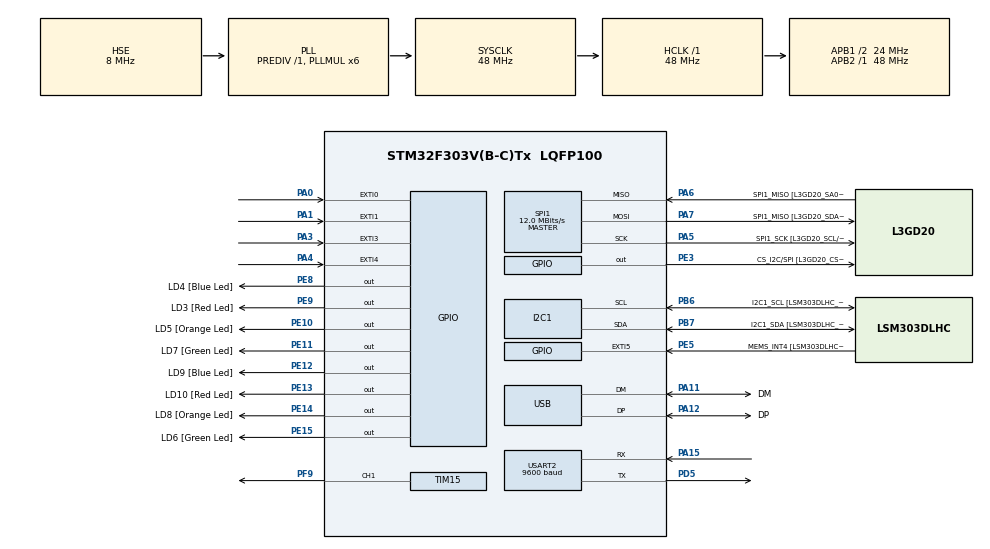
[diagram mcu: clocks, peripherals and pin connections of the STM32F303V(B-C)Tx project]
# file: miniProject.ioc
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I2C1.Timing=0x2000090E
I2C1.Timing-I2C=0x2000090E
Mcu.Family=STM32F3
Mcu.Name=STM32F303V(B-C)Tx
Mcu.Package=LQFP100
NVIC.EXTI0_IRQn=true\:0\:0\:true\:false\:true\:true\:true
NVIC.EXTI1_IRQn=true\:0\:0\:true\:false\:true\:true\:true
NVIC.EXTI3_IRQn=true\:4\:0\:true\:false\:true\:true\:true
NVIC.EXTI4_IRQn=true\:0\:0\:false\:false\:true\:true\:true
NVIC.PriorityGroup=NVIC_PRIORITYGROUP_3
NVIC.TIM1_BRK_TIM15_IRQn=true\:3\:0\:true\:false\:true\:true\:true
NVIC.TIM3_IRQn=true\:5\:0\:true\:false\:true\:true\:true
NVIC.TIM4_IRQn=true\:0\:0\:true\:false\:true\:true\:true
NVIC.USART2_IRQn=true\:1\:0\:true\:false\:true\:true\:true
PA0.GPIO_PuPd=GPIO_PULLDOWN
PA0.Signal=GPXTI0
PA1.GPIO_PuPd=GPIO_PULLDOWN
PA1.Signal=GPXTI1
PA11.GPIO_Label=DM
PA11.Mode=Device
PA11.Signal=USB_DM
PA12.GPIO_Label=DP
PA12.Mode=Device
PA12.Signal=USB_DP
PA13.GPIO_Label=SWDIO
PA13.Mode=Serial_Wire
PA13.Signal=SYS_JTMS-SWDIO
PA14.GPIO_Label=SWCLK
PA14.Mode=Serial_Wire
PA14.Signal=SYS_JTCK-SWCLK
PA15.Mode=Asynchronous
PA15.Signal=USART2_RX
PA3.GPIO_PuPd=GPIO_PULLDOWN
PA3.Signal=GPXTI3
PA4.GPIO_PuPd=GPIO_PULLDOWN
PA4.Signal=GPXTI4
PA5.GPIO_Label=SPI1_SCK [L3GD20_SCL/SPC]
PA5.Mode=Full_Duplex_Master
PA5.Signal=SPI1_SCK
PA6.GPIO_Label=SPI1_MISO [L3GD20_SA0/SDO]
PA6.Mode=Full_Duplex_Master
PA6.Signal=SPI1_MISO
PA7.GPIO_Label=SPI1_MISO [L3GD20_SDA/SDI/SDO]
PA7.Mode=Full_Duplex_Master
PA7.Signal=SPI1_MOSI
PB3.GPIO_Label=SWO
PB3.Signal=SYS_JTDO-TRACESWO
PB6.GPIO_Label=I2C1_SCL [LSM303DLHC_SCL]
PB6.GPIO_Pu=GPIO_PULLUP
PB6.Mode=I2C
PB6.Signal=I2C1_SCL
PB7.GPIO_Label=I2C1_SDA [LSM303DLHC_SDA]
PB7.GPIO_Pu=GPIO_PULLUP
PB7.Mode=I2C
PB7.Signal=I2C1_SDA
PC14-OSC32_IN.GPIO_Label=OSC32_IN
PC14-OSC32_IN.Signal=RCC_OSC32_IN
PC15-OSC32_OUT.GPIO_Label=OSC32_OUT
PC15-OSC32_OUT.Signal=RCC_OSC32_OUT
PD5.Mode=Asynchronous
PD5.Signal=USART2_TX
PE10.GPIO_Label=LD5 [Orange Led]
PE10.Signal=GPIO_Output
PE11.GPIO_Label=LD7 [Green Led]
PE11.Signal=GPIO_Output
PE12.GPIO_Label=LD9 [Blue Led]
PE12.Signal=GPIO_Output
PE13.GPIO_Label=LD10 [Red Led]
PE13.Signal=GPIO_Output
PE14.GPIO_Label=LD8 [Orange Led]
PE14.Signal=GPIO_Output
PE15.GPIO_Label=LD6 [Green Led]
PE15.Signal=GPIO_Output
PE3.GPIO_Label=CS_I2C/SPI [L3GD20_CS_I2C/SPI]
PE3.Signal=GPIO_Output
PE5.GPIO_Label=MEMS_INT4 [LSM303DLHC_INT2]
PE5.GPIO_ModeDefaultEXTI=GPIO_MODE_EVT_RISING
PE5.Signal=GPXTI5
PE8.GPIO_Label=LD4 [Blue Led]
PE8.Signal=GPIO_Output
PE9.GPIO_Label=LD3 [Red Led]
PE9.Signal=GPIO_Output
PF0-OSC_IN.GPIO_Label=OSC_IN
PF0-OSC_IN.Mode=HSE-External-Clock-Source
PF0-OSC_IN.Signal=RCC_OSC_IN
PF1-OSC_OUT.GPIO_Label=OSC_OUT
PF1-OSC_OUT.Signal=RCC_OSC_OUT
PF9.Signal=S_TIM15_CH1
ProjectManager.HeapSize=0x200
ProjectManager.StackSize=0x400
ProjectManager.TargetToolchain=STM32CubeIDE
RCC.AHBFreq_Value=48000000
RCC.APB1CLKDivider=RCC_HCLK_DIV2
RCC.APB1Freq_Value=24000000
RCC.APB1TimFreq_Value=48000000
RCC.APB2Freq_Value=48000000
RCC.APB2TimFreq_Value=48000000
RCC.CortexFreq_Value=48000000
RCC.HCLKFreq_Value=48000000
RCC.HSE_VALUE=8000000
RCC.HSI_VALUE=8000000
RCC.LSE_VALUE=32768
RCC.PLLMUL=RCC_PLL_MUL6
RCC.SYSCLKFreq_VALUE=48000000
RCC.SYSCLKSourceVirtual=RCC_SYSCLKSOURCE_PLLCLK
RCC.USBFreq_Value=48000000
SH.S_TIM15_CH1.0=TIM15_CH1,PWM Generation1 CH1
SPI1.BaudRatePrescaler=SPI_BAUDRATEPRESCALER_4
SPI1.BaudRatePrescaler-Full_Duplex_Master=SPI_BAUDRATEPRESCALER_2
SPI1.CalculateBaudRate=12.0 MBits/s
SPI1.CalculateBaudRate-Full_Duplex_Master=24.0 MBits/s
SPI1.Direction=SPI_DIRECTION_2LINES
SPI1.Mode=SPI_MODE_MASTER
SPI1.Mode-Full_Duplex_Master=SPI_MODE_MASTER
SPI1.VirtualType=VM_MASTER
TIM15.Channel-PWM\ Generation1\ CH1=TIM_CHANNEL_1
TIM3.Period=9999
TIM3.Prescaler=4799
TIM4.Period=9
TIM4.Prescaler=47
USART2.BaudRate=9600
USART2.VirtualMode-Asynchronous=VM_ASYNC
VP_TIM15_VS_ClockSourceINT.Mode=Internal
VP_TIM3_VS_ClockSourceINT.Mode=Internal
VP_TIM4_VS_ClockSourceINT.Mode=Internal
board=STM32F3DISCOVERY

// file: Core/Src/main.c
/* USER CODE BEGIN Header */
/**
  ******************************************************************************
  * @file           : main.c
  * @brief          : Main program body
  ******************************************************************************
  * @attention
  *
  * <h2><center>&copy; Copyright (c) 2022 STMicroelectronics.
  * All rights reserved.</center></h2>
  *
  * This software component is licensed by ST under BSD 3-Clause license,
  * the "License"; You may not use this file except in compliance with the
  * License. You may obtain a copy of the License at:
  *                        opensource.org/licenses/BSD-3-Clause
  *
  ******************************************************************************
  */
/* USER CODE END Header */
#include "main.h"

I2C_HandleTypeDef hi2c1;

SPI_HandleTypeDef hspi1;

TIM_HandleTypeDef htim3;
TIM_HandleTypeDef htim4;
TIM_HandleTypeDef htim15;

UART_HandleTypeDef huart2;

PCD_HandleTypeDef hpcd_USB_FS;

void SystemClock_Config(void);
static void MX_GPIO_Init(void);
static void MX_I2C1_Init(void);
static void MX_SPI1_Init(void);
static void MX_USB_PCD_Init(void);
static void MX_TIM3_Init(void);
static void MX_TIM4_Init(void);
static void MX_TIM15_Init(void);
static void MX_USART2_UART_Init(void);

/* USER CODE BEGIN 0 */

unsigned char data[1];

void initForSevenSeg() {

	__HAL_RCC_GPIOC_CLK_ENABLE();
	GPIO_InitTypeDef temp;
	temp.Pin = GPIO_PIN_0 | GPIO_PIN_1 | GPIO_PIN_2 | GPIO_PIN_3 | GPIO_PIN_4 | GPIO_PIN_5 | GPIO_PIN_6 | GPIO_PIN_7 | GPIO_PIN_8 ;
	temp.Mode = GPIO_MODE_OUTPUT_PP;
	temp.Speed = GPIO_SPEED_FREQ_HIGH;
	HAL_GPIO_Init(GPIOC, &temp);
}

void initForLED() {

	__HAL_RCC_GPIOE_CLK_ENABLE();
	GPIO_InitTypeDef GPIO_InitStruct;
	GPIO_InitStruct.Pin = GPIO_PIN_8 | GPIO_PIN_9 | GPIO_PIN_10 | GPIO_PIN_11 | GPIO_PIN_12 | GPIO_PIN_13 | GPIO_PIN_14 | GPIO_PIN_15;
	GPIO_InitStruct.Mode = GPIO_MODE_OUTPUT_PP;
	GPIO_InitStruct.Speed = GPIO_SPEED_FREQ_HIGH;
	HAL_GPIO_Init(GPIOE, &GPIO_InitStruct);
}

void numberToBCD0(int number)
{
	int x1 = number&1;
	int x2 = number&2;
	int x3 = number&4;
	int x4 = number&8;

	if (x1 > 0) x1 = 1;
	if (x2 > 0) x2 = 1;
	if (x3 > 0) x3 = 1;
	if (x4 > 0) x4 = 1;

	HAL_GPIO_WritePin(GPIOC, GPIO_PIN_0, x1);
	HAL_GPIO_WritePin(GPIOC, GPIO_PIN_1, x2);
	HAL_GPIO_WritePin(GPIOC, GPIO_PIN_2, x3);
	HAL_GPIO_WritePin(GPIOC, GPIO_PIN_3, x4);

}

int x = 0;
void show(int floorIn, int floorGo) {

	x++;
	if( x == 100 ) {
		HAL_GPIO_WritePin(GPIOC, GPIO_PIN_4 | GPIO_PIN_5 | GPIO_PIN_6 | GPIO_PIN_7 , 1);
		HAL_GPIO_WritePin(GPIOC, GPIO_PIN_7 | GPIO_PIN_8, 0);
		numberToBCD0( floorIn );
	}
	if ( x ==200 ) {
		HAL_GPIO_WritePin(GPIOC, GPIO_PIN_4 | GPIO_PIN_5 | GPIO_PIN_6 | GPIO_PIN_7, 1);
		HAL_GPIO_WritePin(GPIOC, GPIO_PIN_4 | GPIO_PIN_8, 0);
		numberToBCD0( floorGo );
		x=0;
	}
}

/* USER CODE END 0 */

int main(void)
{

  /* MCU Configuration--------------------------------------------------------*/

  /* Reset of all peripherals, Initializes the Flash interface and the Systick. */
  HAL_Init();

  /* Configure the system clock */
  SystemClock_Config();

  /* Initialize all configured peripherals */
  MX_GPIO_Init();
  MX_I2C1_Init();
  MX_SPI1_Init();
  MX_USB_PCD_Init();
  MX_TIM3_Init();
  MX_TIM4_Init();
  MX_TIM15_Init();
  MX_USART2_UART_Init();
  /* USER CODE BEGIN 2 */

  initForSevenSeg();
  initForLED();

  HAL_TIM_Base_Start_IT(&htim4);
  HAL_TIM_Base_Start_IT(&htim15);
  HAL_TIM_Base_Start_IT(&htim3);

  HAL_UART_Receive_IT(&huart2,data,sizeof(data));

  /* USER CODE END 2 */

  /* Infinite loop */
  while (1)
  {

  }
}

void SystemClock_Config(void)
{
  RCC_OscInitTypeDef RCC_OscInitStruct = {0};
  RCC_ClkInitTypeDef RCC_ClkInitStruct = {0};
  RCC_PeriphCLKInitTypeDef PeriphClkInit = {0};

  /** Initializes the RCC Oscillators according to the specified parameters
  * in the RCC_OscInitTypeDef structure.
  */
  RCC_OscInitStruct.OscillatorType = RCC_OSCILLATORTYPE_HSI|RCC_OSCILLATORTYPE_HSE;
  RCC_OscInitStruct.HSEState = RCC_HSE_BYPASS;
  RCC_OscInitStruct.HSEPredivValue = RCC_HSE_PREDIV_DIV1;
  RCC_OscInitStruct.HSIState = RCC_HSI_ON;
  RCC_OscInitStruct.HSICalibrationValue = RCC_HSICALIBRATION_DEFAULT;
  RCC_OscInitStruct.PLL.PLLState = RCC_PLL_ON;
  RCC_OscInitStruct.PLL.PLLSource = RCC_PLLSOURCE_HSE;
  RCC_OscInitStruct.PLL.PLLMUL = RCC_PLL_MUL6;
  if (HAL_RCC_OscConfig(&RCC_OscInitStruct) != HAL_OK)
  {
    Error_Handler();
  }
  /** Initializes the CPU, AHB and APB buses clocks
  */
  RCC_ClkInitStruct.ClockType = RCC_CLOCKTYPE_HCLK|RCC_CLOCKTYPE_SYSCLK
                              |RCC_CLOCKTYPE_PCLK1|RCC_CLOCKTYPE_PCLK2;
  RCC_ClkInitStruct.SYSCLKSource = RCC_SYSCLKSOURCE_PLLCLK;
  RCC_ClkInitStruct.AHBCLKDivider = RCC_SYSCLK_DIV1;
  RCC_ClkInitStruct.APB1CLKDivider = RCC_HCLK_DIV2;
  RCC_ClkInitStruct.APB2CLKDivider = RCC_HCLK_DIV1;

  if (HAL_RCC_ClockConfig(&RCC_ClkInitStruct, FLASH_LATENCY_1) != HAL_OK)
  {
    Error_Handler();
  }
  PeriphClkInit.PeriphClockSelection = RCC_PERIPHCLK_USB|RCC_PERIPHCLK_USART2
                              |RCC_PERIPHCLK_I2C1;
  PeriphClkInit.Usart2ClockSelection = RCC_USART2CLKSOURCE_PCLK1;
  PeriphClkInit.I2c1ClockSelection = RCC_I2C1CLKSOURCE_HSI;
  PeriphClkInit.USBClockSelection = RCC_USBCLKSOURCE_PLL;
  if (HAL_RCCEx_PeriphCLKConfig(&PeriphClkInit) != HAL_OK)
  {
    Error_Handler();
  }
}

static void MX_I2C1_Init(void)
{

  hi2c1.Instance = I2C1;
  hi2c1.Init.Timing = 0x2000090E;
  hi2c1.Init.OwnAddress1 = 0;
  hi2c1.Init.AddressingMode = I2C_ADDRESSINGMODE_7BIT;
  hi2c1.Init.DualAddressMode = I2C_DUALADDRESS_DISABLE;
  hi2c1.Init.OwnAddress2 = 0;
  hi2c1.Init.OwnAddress2Masks = I2C_OA2_NOMASK;
  hi2c1.Init.GeneralCallMode = I2C_GENERALCALL_DISABLE;
  hi2c1.Init.NoStretchMode = I2C_NOSTRETCH_DISABLE;
  if (HAL_I2C_Init(&hi2c1) != HAL_OK)
  {
    Error_Handler();
  }
  /** Configure Analogue filter
  */
  if (HAL_I2CEx_ConfigAnalogFilter(&hi2c1, I2C_ANALOGFILTER_ENABLE) != HAL_OK)
  {
    Error_Handler();
  }
  /** Configure Digital filter
  */
  if (HAL_I2CEx_ConfigDigitalFilter(&hi2c1, 0) != HAL_OK)
  {
    Error_Handler();
  }

}

static void MX_SPI1_Init(void)
{

  /* SPI1 parameter configuration*/
  hspi1.Instance = SPI1;
  hspi1.Init.Mode = SPI_MODE_MASTER;
  hspi1.Init.Direction = SPI_DIRECTION_2LINES;
  hspi1.Init.DataSize = SPI_DATASIZE_4BIT;
  hspi1.Init.CLKPolarity = SPI_POLARITY_LOW;
  hspi1.Init.CLKPhase = SPI_PHASE_1EDGE;
  hspi1.Init.NSS = SPI_NSS_SOFT;
  hspi1.Init.BaudRatePrescaler = SPI_BAUDRATEPRESCALER_4;
  hspi1.Init.FirstBit = SPI_FIRSTBIT_MSB;
  hspi1.Init.TIMode = SPI_TIMODE_DISABLE;
  hspi1.Init.CRCCalculation = SPI_CRCCALCULATION_DISABLE;
  hspi1.Init.CRCPolynomial = 7;
  hspi1.Init.CRCLength = SPI_CRC_LENGTH_DATASIZE;
  hspi1.Init.NSSPMode = SPI_NSS_PULSE_ENABLE;
  if (HAL_SPI_Init(&hspi1) != HAL_OK)
  {
    Error_Handler();
  }

}

static void MX_TIM3_Init(void)
{

  TIM_ClockConfigTypeDef sClockSourceConfig = {0};
  TIM_MasterConfigTypeDef sMasterConfig = {0};

  htim3.Instance = TIM3;
  htim3.Init.Prescaler = 4799;
  htim3.Init.CounterMode = TIM_COUNTERMODE_UP;
  htim3.Init.Period = 9999;
  htim3.Init.ClockDivision = TIM_CLOCKDIVISION_DIV1;
  htim3.Init.AutoReloadPreload = TIM_AUTORELOAD_PRELOAD_DISABLE;
  if (HAL_TIM_Base_Init(&htim3) != HAL_OK)
  {
    Error_Handler();
  }
  sClockSourceConfig.ClockSource = TIM_CLOCKSOURCE_INTERNAL;
  if (HAL_TIM_ConfigClockSource(&htim3, &sClockSourceConfig) != HAL_OK)
  {
    Error_Handler();
  }
  sMasterConfig.MasterOutputTrigger = TIM_TRGO_RESET;
  sMasterConfig.MasterSlaveMode = TIM_MASTERSLAVEMODE_DISABLE;
  if (HAL_TIMEx_MasterConfigSynchronization(&htim3, &sMasterConfig) != HAL_OK)
  {
    Error_Handler();
  }

}

static void MX_TIM4_Init(void)
{

  TIM_ClockConfigTypeDef sClockSourceConfig = {0};
  TIM_MasterConfigTypeDef sMasterConfig = {0};

  htim4.Instance = TIM4;
  htim4.Init.Prescaler = 47;
  htim4.Init.CounterMode = TIM_COUNTERMODE_UP;
  htim4.Init.Period = 9;
  htim4.Init.ClockDivision = TIM_CLOCKDIVISION_DIV1;
  htim4.Init.AutoReloadPreload = TIM_AUTORELOAD_PRELOAD_DISABLE;
  if (HAL_TIM_Base_Init(&htim4) != HAL_OK)
  {
    Error_Handler();
  }
  sClockSourceConfig.ClockSource = TIM_CLOCKSOURCE_INTERNAL;
  if (HAL_TIM_ConfigClockSource(&htim4, &sClockSourceConfig) != HAL_OK)
  {
    Error_Handler();
  }
  sMasterConfig.MasterOutputTrigger = TIM_TRGO_RESET;
  sMasterConfig.MasterSlaveMode = TIM_MASTERSLAVEMODE_DISABLE;
  if (HAL_TIMEx_MasterConfigSynchronization(&htim4, &sMasterConfig) != HAL_OK)
  {
    Error_Handler();
  }

}

static void MX_TIM15_Init(void)
{

  TIM_ClockConfigTypeDef sClockSourceConfig = {0};
  TIM_MasterConfigTypeDef sMasterConfig = {0};
  TIM_OC_InitTypeDef sConfigOC = {0};
  TIM_BreakDeadTimeConfigTypeDef sBreakDeadTimeConfig = {0};

  htim15.Instance = TIM15;
  htim15.Init.Prescaler = 0;
  htim15.Init.CounterMode = TIM_COUNTERMODE_UP;
  htim15.Init.Period = 65535;
  htim15.Init.ClockDivision = TIM_CLOCKDIVISION_DIV1;
  htim15.Init.RepetitionCounter = 0;
  htim15.Init.AutoReloadPreload = TIM_AUTORELOAD_PRELOAD_DISABLE;
  if (HAL_TIM_Base_Init(&htim15) != HAL_OK)
  {
    Error_Handler();
  }
  sClockSourceConfig.ClockSource = TIM_CLOCKSOURCE_INTERNAL;
  if (HAL_TIM_ConfigClockSource(&htim15, &sClockSourceConfig) != HAL_OK)
  {
    Error_Handler();
  }
  if (HAL_TIM_PWM_Init(&htim15) != HAL_OK)
  {
    Error_Handler();
  }
  sMasterConfig.MasterOutputTrigger = TIM_TRGO_RESET;
  sMasterConfig.MasterSlaveMode = TIM_MASTERSLAVEMODE_DISABLE;
  if (HAL_TIMEx_MasterConfigSynchronization(&htim15, &sMasterConfig) != HAL_OK)
  {
    Error_Handler();
  }
  sConfigOC.OCMode = TIM_OCMODE_PWM1;
  sConfigOC.Pulse = 0;
  sConfigOC.OCPolarity = TIM_OCPOLARITY_HIGH;
  sConfigOC.OCNPolarity = TIM_OCNPOLARITY_HIGH;
  sConfigOC.OCFastMode = TIM_OCFAST_DISABLE;
  sConfigOC.OCIdleState = TIM_OCIDLESTATE_RESET;
  sConfigOC.OCNIdleState = TIM_OCNIDLESTATE_RESET;
  if (HAL_TIM_PWM_ConfigChannel(&htim15, &sConfigOC, TIM_CHANNEL_1) != HAL_OK)
  {
    Error_Handler();
  }
  sBreakDeadTimeConfig.OffStateRunMode = TIM_OSSR_DISABLE;
  sBreakDeadTimeConfig.OffStateIDLEMode = TIM_OSSI_DISABLE;
  sBreakDeadTimeConfig.LockLevel = TIM_LOCKLEVEL_OFF;
  sBreakDeadTimeConfig.DeadTime = 0;
  sBreakDeadTimeConfig.BreakState = TIM_BREAK_DISABLE;
  sBreakDeadTimeConfig.BreakPolarity = TIM_BREAKPOLARITY_HIGH;
  sBreakDeadTimeConfig.BreakFilter = 0;
  sBreakDeadTimeConfig.AutomaticOutput = TIM_AUTOMATICOUTPUT_DISABLE;
  if (HAL_TIMEx_ConfigBreakDeadTime(&htim15, &sBreakDeadTimeConfig) != HAL_OK)
  {
    Error_Handler();
  }
  HAL_TIM_MspPostInit(&htim15);

}

static void MX_USART2_UART_Init(void)
{

  huart2.Instance = USART2;
  huart2.Init.BaudRate = 9600;
  huart2.Init.WordLength = UART_WORDLENGTH_8B;
  huart2.Init.StopBits = UART_STOPBITS_1;
  huart2.Init.Parity = UART_PARITY_NONE;
  huart2.Init.Mode = UART_MODE_TX_RX;
  huart2.Init.HwFlowCtl = UART_HWCONTROL_NONE;
  huart2.Init.OverSampling = UART_OVERSAMPLING_16;
  huart2.Init.OneBitSampling = UART_ONE_BIT_SAMPLE_DISABLE;
  huart2.AdvancedInit.AdvFeatureInit = UART_ADVFEATURE_NO_INIT;
  if (HAL_UART_Init(&huart2) != HAL_OK)
  {
    Error_Handler();
  }

}

static void MX_USB_PCD_Init(void)
{

  hpcd_USB_FS.Instance = USB;
  hpcd_USB_FS.Init.dev_endpoints = 8;
  hpcd_USB_FS.Init.speed = PCD_SPEED_FULL;
  hpcd_USB_FS.Init.phy_itface = PCD_PHY_EMBEDDED;
  hpcd_USB_FS.Init.low_power_enable = DISABLE;
  hpcd_USB_FS.Init.battery_charging_enable = DISABLE;
  if (HAL_PCD_Init(&hpcd_USB_FS) != HAL_OK)
  {
    Error_Handler();
  }

}

static void MX_GPIO_Init(void)
{
  GPIO_InitTypeDef GPIO_InitStruct = {0};

  /* GPIO Ports Clock Enable */
  __HAL_RCC_GPIOE_CLK_ENABLE();
  __HAL_RCC_GPIOC_CLK_ENABLE();
  __HAL_RCC_GPIOF_CLK_ENABLE();
  __HAL_RCC_GPIOA_CLK_ENABLE();
  __HAL_RCC_GPIOD_CLK_ENABLE();
  __HAL_RCC_GPIOB_CLK_ENABLE();

  /*Configure GPIO pin Output Level */
  HAL_GPIO_WritePin(GPIOE, CS_I2C_SPI_Pin|LD4_Pin|LD3_Pin|LD5_Pin
                          |LD7_Pin|LD9_Pin|LD10_Pin|LD8_Pin
                          |LD6_Pin, GPIO_PIN_RESET);

  /*Configure GPIO pins : CS_I2C_SPI_Pin LD4_Pin LD3_Pin LD5_Pin
                           LD7_Pin LD9_Pin LD10_Pin LD8_Pin
                           LD6_Pin */
  GPIO_InitStruct.Pin = CS_I2C_SPI_Pin|LD4_Pin|LD3_Pin|LD5_Pin
                          |LD7_Pin|LD9_Pin|LD10_Pin|LD8_Pin
                          |LD6_Pin;
  GPIO_InitStruct.Mode = GPIO_MODE_OUTPUT_PP;
  GPIO_InitStruct.Pull = GPIO_NOPULL;
  GPIO_InitStruct.Speed = GPIO_SPEED_FREQ_LOW;
  HAL_GPIO_Init(GPIOE, &GPIO_InitStruct);

  /*Configure GPIO pin : MEMS_INT4_Pin */
  GPIO_InitStruct.Pin = MEMS_INT4_Pin;
  GPIO_InitStruct.Mode = GPIO_MODE_EVT_RISING;
  GPIO_InitStruct.Pull = GPIO_NOPULL;
  HAL_GPIO_Init(MEMS_INT4_GPIO_Port, &GPIO_InitStruct);

  /*Configure GPIO pins : PA0 PA1 PA3 PA4 */
  GPIO_InitStruct.Pin = GPIO_PIN_0|GPIO_PIN_1|GPIO_PIN_3|GPIO_PIN_4;
  GPIO_InitStruct.Mode = GPIO_MODE_IT_RISING;
  GPIO_InitStruct.Pull = GPIO_PULLDOWN;
  HAL_GPIO_Init(GPIOA, &GPIO_InitStruct);

  /* EXTI interrupt init*/
  HAL_NVIC_SetPriority(EXTI0_IRQn, 0, 0);
  HAL_NVIC_EnableIRQ(EXTI0_IRQn);

  HAL_NVIC_SetPriority(EXTI1_IRQn, 0, 0);
  HAL_NVIC_EnableIRQ(EXTI1_IRQn);

  HAL_NVIC_SetPriority(EXTI3_IRQn, 4, 0);
  HAL_NVIC_EnableIRQ(EXTI3_IRQn);

  HAL_NVIC_SetPriority(EXTI4_IRQn, 0, 0);
  HAL_NVIC_EnableIRQ(EXTI4_IRQn);

}

void Error_Handler(void)
{
  __disable_irq();
  while (1)
  {
  }
}

/************************ (C) COPYRIGHT STMicroelectronics *****END OF FILE****/
